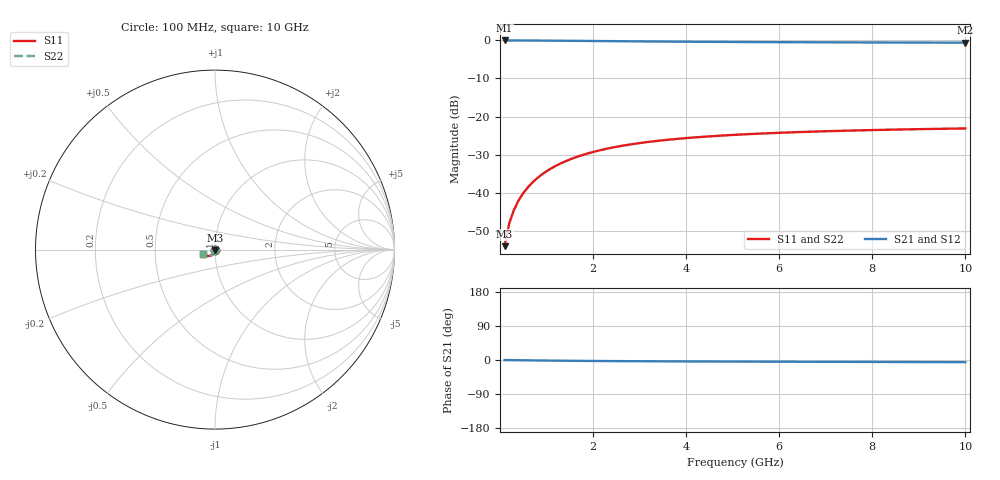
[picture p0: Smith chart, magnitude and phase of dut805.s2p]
! Touchstone file exported from HFSS 2024.1.0
!  File:  C:/UserFiles/LocalFiles/RDL_TSV_Batchsim/temp_TSV1_805_1779876871.aedt
!  Generated:  06:18:44 PM May 27, 2026
!  Design:  TSV1
!  Project:  temp_TSV1_805_1779876871
!  Setup:  Setup1
!  Solution:  Sweep
! Variables:
!  dtsv = 14.17um
!  hbump = 3um
!  htsv = 86.69um
!  lrdl = 252.1521522um
!  p = 40
!  p1 = 47.38um
!  t = 500um
!  trdl = 3um
!  wrdl = 24.89489489um
# GHz S MA R 50.000000
! Terminal data exported
! Port[1] = TSV22_T1
! Port[2] = TSV22_T2
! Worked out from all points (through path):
!   100 points, 100 MHz to 10 GHz, reference 50 ohm
!   highest |S21| = 0.00 dB at 100 MHz (marker M1); lowest = -0.6 dB at 10 GHz (marker M2)
!   lowest |S11| = -54.1 dB at 100 MHz (marker M3), VSWR 1.00, Z = 50 - j0.197 ohm
!   |S11| at or under -10 dB: start of sweep to end of sweep
!   |S22| runs from -54.1 to -23.1 dB; largest |S21 - S12| = 2.3e-15
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0.1  0.001972 -89.1  0.9998 -0.2  0.9998 -0.2  0.001972 -89.1
! Gamma 0 0 0 0
! Port Impedance 50 0 50 0
0.2  0.003943 -91.8  0.9997 -0.3  0.9997 -0.3  0.003943 -91.8
0.3  0.005913 -93.8  0.9994 -0.5  0.9994 -0.5  0.005913 -93.8
0.4  0.007871 -95.7  0.9989 -0.6  0.9989 -0.6  0.007871 -95.7
0.5  0.009811 -97.4  0.9984 -0.8  0.9984 -0.8  0.009811 -97.4
0.6  0.01173 -99.1  0.9978 -0.9  0.9978 -0.9  0.01173 -99.1
0.7  0.01361 -100.8  0.9971 -1.1  0.9971 -1.1  0.01361 -100.8
0.8  0.01546 -102.5  0.9964 -1.2  0.9964 -1.2  0.01546 -102.5
0.9  0.01727 -104.1  0.9955 -1.3  0.9955 -1.3  0.01727 -104.1
1.1  0.02077 -107.1  0.9937 -1.6  0.9937 -1.6  0.02077 -107.1
1.4  0.02567 -111.5  0.9905 -2.0  0.9905 -2.0  0.02567 -111.5
1.6  0.02869 -114.2  0.9882 -2.2  0.9882 -2.2  0.02869 -114.2
1.8  0.03151 -116.8  0.9858 -2.4  0.9858 -2.4  0.03151 -116.8
2.1  0.03538 -120.4  0.9822 -2.6  0.9822 -2.6  0.03538 -120.4
2.5  0.03992 -124.7  0.9775 -2.9  0.9775 -2.9  0.03992 -124.7
2.9  0.04381 -128.5  0.9731 -3.2  0.9731 -3.2  0.04381 -128.5
3.4  0.04793 -132.6  0.968 -3.5  0.968 -3.5  0.04793 -132.6
4.2  0.05317 -138.1  0.961 -3.8  0.961 -3.8  0.05317 -138.1
5.1  0.05763 -143.0  0.9546 -4.2  0.9546 -4.2  0.05763 -143.0
6.7  0.0632 -149.5  0.9462 -4.7  0.9462 -4.7  0.06319 -149.5
8.4  0.0671 -154.6  0.94 -5.2  0.94 -5.2  0.0671 -154.6
10  0.06964 -158.3  0.9359 -5.7  0.9359 -5.7  0.06964 -158.3
